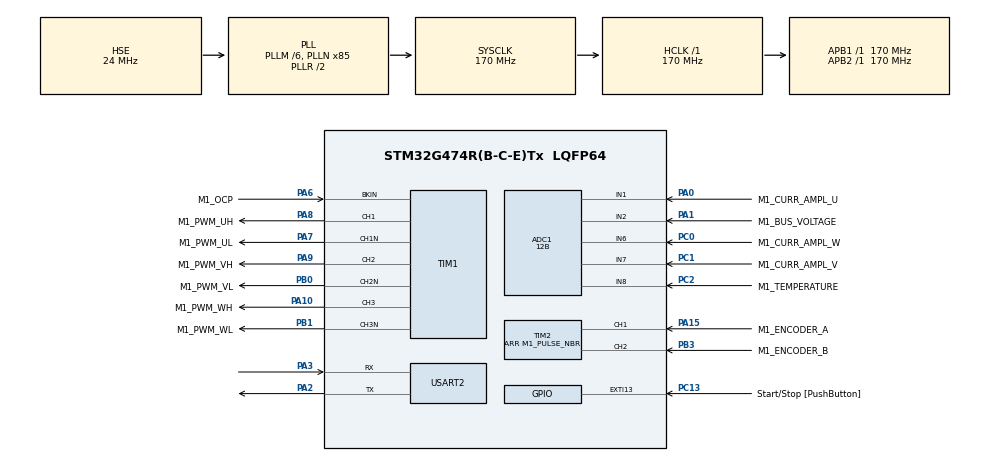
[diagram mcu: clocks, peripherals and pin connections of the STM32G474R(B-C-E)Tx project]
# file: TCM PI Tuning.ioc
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ADC1.Channel-1\#ChannelRegularConversion=ADC_CHANNEL_2
ADC1.Channel-2\#ChannelRegularConversion=ADC_CHANNEL_8
ADC1.ClockPrescaler=ADC_CLOCK_ASYNC_DIV1
ADC1.ContinuousConvMode=DISABLE
ADC1.DMAContinuousRequests=DISABLE
ADC1.DataAlign=ADC_DATAALIGN_LEFT
ADC1.DiscontinuousConvMode=DISABLE
ADC1.EOCSelection=ADC_EOC_SINGLE_CONV
ADC1.EnableAnalogWatchDog1=false
ADC1.EnableAnalogWatchDog2=false
ADC1.EnableAnalogWatchDog3=false
ADC1.EnableInjectedConversion=ENABLE
ADC1.EnableRegularConversion=ENABLE
ADC1.ExternalTrigConv=ADC_SOFTWARE_START
ADC1.ExternalTrigConvEdge=ADC_EXTERNALTRIGCONVEDGE_NONE
ADC1.ExternalTrigInjecConv=ADC_EXTERNALTRIGINJEC_T1_TRGO
ADC1.ExternalTrigInjecConvEdge=ADC_EXTERNALTRIGINJECCONV_EDGE_RISING
ADC1.InjNumberOfConversion=3
ADC1.InjectedChannel-1\#ChannelInjectedConversion=ADC_CHANNEL_1
ADC1.InjectedChannel-2\#ChannelInjectedConversion=ADC_CHANNEL_7
ADC1.InjectedChannel-3\#ChannelInjectedConversion=ADC_CHANNEL_6
ADC1.InjectedConvMode=None
ADC1.InjectedOffset-1\#ChannelInjectedConversion=0
ADC1.InjectedOffset-2\#ChannelInjectedConversion=0
ADC1.InjectedOffset-3\#ChannelInjectedConversion=0
ADC1.InjectedOffsetNumber-1\#ChannelInjectedConversion=ADC_OFFSET_NONE
ADC1.InjectedOffsetNumber-2\#ChannelInjectedConversion=ADC_OFFSET_NONE
ADC1.InjectedOffsetNumber-3\#ChannelInjectedConversion=ADC_OFFSET_NONE
ADC1.InjectedRank-1\#ChannelInjectedConversion=1
ADC1.InjectedRank-2\#ChannelInjectedConversion=2
ADC1.InjectedRank-3\#ChannelInjectedConversion=3
ADC1.InjectedSamplingTime-1\#ChannelInjectedConversion=ADC_SAMPLETIME_6CYCLES_5
ADC1.InjectedSamplingTime-2\#ChannelInjectedConversion=ADC_SAMPLETIME_6CYCLES_5
ADC1.InjectedSamplingTime-3\#ChannelInjectedConversion=ADC_SAMPLETIME_6CYCLES_5
ADC1.LowPowerAutoWait=DISABLE
ADC1.NbrOfConversion=2
ADC1.NbrOfConversionFlag=1
ADC1.Offset-1\#ChannelRegularConversion=0
ADC1.Offset-2\#ChannelRegularConversion=0
ADC1.OffsetNumber-1\#ChannelRegularConversion=ADC_OFFSET_NONE
ADC1.OffsetNumber-2\#ChannelRegularConversion=ADC_OFFSET_NONE
ADC1.Overrun=ADC_OVR_DATA_PRESERVED
ADC1.Rank-1\#ChannelRegularConversion=1
ADC1.Rank-2\#ChannelRegularConversion=2
ADC1.Resolution=ADC_RESOLUTION_12B
ADC1.SamplingTime-1\#ChannelRegularConversion=ADC_SAMPLETIME_47CYCLES_5
ADC1.SamplingTime-2\#ChannelRegularConversion=ADC_SAMPLETIME_47CYCLES_5
ADC1.ScanConvMode=ADC_SCAN_ENABLE
ADC1.master=1
ExtraMW=MotorControl
ExtraMW.MotorControl.Config=MotorControl
ExtraMW.MotorControl.Mode=MotorControl
ExtraMW.MotorControl.Root=MCSDK_v6.3.0-Full/MotorControl
ExtraMW.MotorControl.Template=templates
Mcu.Family=STM32G4
Mcu.Name=STM32G474R(B-C-E)Tx
Mcu.Package=LQFP64
MotorControl.ADC_AHBPERIPH=RCC_AHBPeriph_ADC1
MotorControl.ADC_CLOCK_WB_DIV=1
MotorControl.ADC_PERIPH=ADC1
MotorControl.ADC_REFERENCE_VOLTAGE=3.3
MotorControl.BOARD=NUCLEO-G474RE
MotorControl.BUS_VOLTAGE_READING=true
MotorControl.CCMRAM_ENABLED=false
MotorControl.CLOCK_FREQUENCY=CPU_CLK_170_MHZ
MotorControl.CLOCK_SOURCE=EXTERNAL
MotorControl.CPU_CLK_170_MHZ=true
MotorControl.CTLBOARD_NAME=NUCLEO-G474RE
MotorControl.CUBE_MX_VER=6.12.0
MotorControl.CURRENT_READING_TOPOLOGY=THREE_SHUNT
MotorControl.CURR_SAMPLING_TIME=6
MotorControl.DBG_MCU_LOAD_MEASURE=false
MotorControl.DEBUG_DAC_FUNCTIONALITY_EN=false
MotorControl.DRIVES_NUMBER_SELECTION=SINGLEDRIVE
MotorControl.DRIVE_NUMBER=1
MotorControl.DRIVE_TYPE=FOC
MotorControl.EMERGENCY_STOP_GPIO_PIN=LL_GPIO_PIN_6
MotorControl.EMERGENCY_STOP_GPIO_PORT=GPIOA
MotorControl.ENCODER=true
MotorControl.ENCODER_AVAILABLE=true
MotorControl.ENCODER_PPR=5000
MotorControl.ENC_A_GPIO_PIN=LL_GPIO_PIN_15
MotorControl.ENC_A_GPIO_PORT=GPIOA
MotorControl.ENC_B_GPIO_PIN=LL_GPIO_PIN_3
MotorControl.ENC_B_GPIO_PORT=GPIOB
MotorControl.ENC_ICx_FILTER=119
MotorControl.ENC_INVERT_SPEED=false
MotorControl.ENC_TIMER_SELECTION=ENC_TIM2
MotorControl.ENC_USE_CH3=false
MotorControl.EXT_CLK_24_MHZ=true
MotorControl.EXT_CLOCK_FREQUENCY=EXT_CLK_24_MHZ
MotorControl.FEEDBACK_NET_FILTERING=false
MotorControl.HALL_SENSORS_AVAILABLE=false
MotorControl.HIGH_SIDE_IDLE_STATE=false
MotorControl.HWV_CS=ThreeShunt_AmplifiedCurrents
MotorControl.HWV_OCP=OnPowerStageOCP
MotorControl.HWV_PWM=DrivingHighAndLowSides
MotorControl.HW_COMPLEMENTED_LOW_SIDE=false
MotorControl.HW_DEAD_TIME_NS=1000
MotorControl.IPs=CORDIC,SYS,NVIC,RCC,MotorControl,TIM1,ADC1,TIM2
MotorControl.LOW_MEMORY_FOOTPRINT_REG=false
MotorControl.LOW_SIDE_IDLE_STATE=false
MotorControl.LOW_SIDE_SIGNALS_ENABLING=LS_PWM_TIMER
MotorControl.M1_ALIGNMENT_ANGLE_DEG=90
MotorControl.M1_ALIGNMENT_DURATION=700
MotorControl.M1_AMPLIFICATION_GAIN=5.18
MotorControl.M1_ANGC={0,0,0,0,0,0,0,0}
MotorControl.M1_AUXILIARY_SPEED_SENSOR=NONE
MotorControl.M1_BOARD_MAX_CURRENT=5
MotorControl.M1_BUS_VOLTAGE_READING=true
MotorControl.M1_COMMUTATION_STEP_TIME_BUF_SIZE=12
MotorControl.M1_CONSTANT1_D=499039
MotorControl.M1_CONSTANT1_Q=408714
MotorControl.M1_CONSTANT2_QD=92859
MotorControl.M1_CS_ADC_NUM=1
MotorControl.M1_CS_ADC_PHASE_SHARED=NONE
MotorControl.M1_CS_ADC_U=ADC1
MotorControl.M1_CS_ADC_V=ADC1
MotorControl.M1_CS_ADC_W=ADC1
MotorControl.M1_CS_CHANNEL_U=1
MotorControl.M1_CS_CHANNEL_V=7
MotorControl.M1_CS_CHANNEL_W=6
MotorControl.M1_CURRENT_AMPLIFICATION_TOPO=EXTERNAL
MotorControl.M1_CURRENT_SENSING_TOPO=THREE_SHUNT
MotorControl.M1_CURR_SAMPLING_TIME=6
MotorControl.M1_DBG_OPEN_LOOP_ENABLE=false
MotorControl.M1_DC_CURRENT_RS_MEAS=5
MotorControl.M1_DEFAULT_CONTROL_MODE=STC_SPEED_MODE
MotorControl.M1_DEFAULT_FLUX_COMPONENT=0
MotorControl.M1_DEFAULT_TARGET_SPEED_RPM=0
MotorControl.M1_DEFAULT_TORQUE_COMPONENT=0
MotorControl.M1_DISCONTINUOUS_PWM=false
MotorControl.M1_DP_TOPOLOGY=NONE
MotorControl.M1_DRIVE_TYPE=FOC
MotorControl.M1_ENCODER_PPR=5000
MotorControl.M1_ENC_AVERAGING_FIFO_DEPTH=16
MotorControl.M1_ENC_A_GPIO_PIN=LL_GPIO_PIN_15
MotorControl.M1_ENC_A_GPIO_PORT=GPIOA
MotorControl.M1_ENC_B_GPIO_PIN=LL_GPIO_PIN_3
MotorControl.M1_ENC_B_GPIO_PORT=GPIOB
MotorControl.M1_ENC_ICx_FILTER=119
MotorControl.M1_ENC_TIMER_SELECTION=ENC_TIM2
MotorControl.M1_ENC_USE_CH3=false
MotorControl.M1_FEED_FORWARD_CURRENT_REG_ENABLING=false
MotorControl.M1_FINAL_I_ALIGNMENT=5
MotorControl.M1_FLUX_WEAKENING_ENABLING=false
MotorControl.M1_FW_KIDIV=32768
MotorControl.M1_FW_KI_GAIN=5000
MotorControl.M1_FW_KPDIV=32768
MotorControl.M1_FW_KP_GAIN=3000
MotorControl.M1_FW_VOLTAGE_REF=985
MotorControl.M1_HALL_PHASE_SHIFT=300
MotorControl.M1_HALL_SENSORS_PLACEMENT=DEGREES_120
MotorControl.M1_HIGH_SIDE_IDLE_STATE=false
MotorControl.M1_HW_DEAD_TIME_NS=1000
MotorControl.M1_ICL_ENABLED=false
MotorControl.M1_ID_DEMAG=-5
MotorControl.M1_IQMAX=5
MotorControl.M1_LDLQ_RATIO=1.221
MotorControl.M1_LOW_SIDE_IDLE_STATE=false
MotorControl.M1_LOW_SIDE_SIGNALS_ENABLING=LS_PWM_TIMER
MotorControl.M1_LS=0.000789
MotorControl.M1_MAX_APPLICATION_SPEED=1200
MotorControl.M1_MAX_MODULATION_INDEX=94
MotorControl.M1_MIN_APPLICATION_SPEED=0
MotorControl.M1_MOTOR_MAX_SPEED_RPM=1200
MotorControl.M1_MOTOR_NAME=GEMS
MotorControl.M1_MOTOR_RATED_FLUX=0.286835249
MotorControl.M1_MOTOR_VOLTAGE_CONSTANT=11.7
MotorControl.M1_MTPA_ENABLING=false
MotorControl.M1_NOMINAL_BUS_VOLTAGE_V=24
MotorControl.M1_NOMINAL_CURRENT=5
MotorControl.M1_OCP_BKIN_FILTER=3
MotorControl.M1_OCP_BKIN_MODE=EXT_MODE
MotorControl.M1_OCP_BKIN_POLARITY=EMSTOP_ACTIVE_LOW
MotorControl.M1_OCP_DESTINATION=TIM_BKIN
MotorControl.M1_OCP_TOPOLOGY=EXTERNAL
MotorControl.M1_OFST={0,0,0,0,0,0,0,0}
MotorControl.M1_ON_OVER_VOLTAGE=TURN_OFF_PWM
MotorControl.M1_OVERMODULATION=false
MotorControl.M1_OVP_THRESHOLD_HIGH=29
MotorControl.M1_OV_TEMPERATURE_HYSTERESIS_C=10
MotorControl.M1_OV_TEMPERATURE_PROT_ENABLING=true
MotorControl.M1_OV_TEMPERATURE_THRESHOLD_C=110
MotorControl.M1_OV_VOLTAGE_PROT_ENABLING=true
MotorControl.M1_OV_VOLTAGE_THRESHOLD_V=29
MotorControl.M1_PID_FLUX_KD_DEFAULT=100
MotorControl.M1_PID_FLUX_KI_DEFAULT=3100
MotorControl.M1_PID_FLUX_KP_DEFAULT=1300
MotorControl.M1_PID_SPEED_KD_DEFAULT=0
MotorControl.M1_PID_SPEED_KI_DEFAULT=1110
MotorControl.M1_PID_SPEED_KP_DEFAULT=8456
MotorControl.M1_PID_TORQUE_KD_DEFAULT=100
MotorControl.M1_PID_TORQUE_KI_DEFAULT=3100
MotorControl.M1_PID_TORQUE_KP_DEFAULT=1300
MotorControl.M1_POLE_PAIR_NUM=2
MotorControl.M1_POSITION_CTRL_ENABLING=true
MotorControl.M1_POSITION_CTRL_KDDIV=16
MotorControl.M1_POSITION_CTRL_KD_GAIN=1000
MotorControl.M1_POSITION_CTRL_KIDIV=32768
MotorControl.M1_POSITION_CTRL_KI_GAIN=1000
MotorControl.M1_POSITION_CTRL_KPDIV=1024
MotorControl.M1_POSITION_CTRL_KP_GAIN=10000
MotorControl.M1_POSITION_LOOP_FREQUENCY_HZ=2000
MotorControl.M1_POTENTIOMETER_ENABLE=false
MotorControl.M1_POWERBOARD_NAME=X-NUCLEO-IHM08M1
MotorControl.M1_PWM_CHARGE_BOOT_CAP_DUTY_CYCLES=0.000
MotorControl.M1_PWM_CHARGE_BOOT_CAP_MS=10
MotorControl.M1_PWM_DRIVER_PN=L6398
MotorControl.M1_PWM_FREQUENCY=30000
MotorControl.M1_PWM_TIMER_BRK_IRQ=TIM1_BRK_TIM15
MotorControl.M1_PWM_TIMER_SELECTION=PWM_TIM1
MotorControl.M1_PWM_TIMER_UP_IRQ=TIM1_UP_TIM16
MotorControl.M1_REGULATION_EXECUTION_RATE=3
MotorControl.M1_RS=0.77
MotorControl.M1_RSHUNT=0.01
MotorControl.M1_SEGDIV=0
MotorControl.M1_SHARED_SIGNAL_ENABLE=false
MotorControl.M1_SPD_DIFFERENTIAL_TERM_ENABLING=false
MotorControl.M1_SPEED_SENSOR=QUAD_ENCODER
MotorControl.M1_SP_KDDIV=16
MotorControl.M1_SP_KIDIV=256
MotorControl.M1_SP_KPDIV=256
MotorControl.M1_SS_MEAS_ERRORS_BEFORE_FAULTS=3
MotorControl.M1_SW_DEADTIME_NS=850
MotorControl.M1_T0_C=25
MotorControl.M1_TEMPERATURE_READING=true
MotorControl.M1_TEMP_ADC_SAMPLING_TIME=47
MotorControl.M1_TEMP_FDBK_ADC=ADC1
MotorControl.M1_TEMP_FDBK_CHANNEL=ADC_CHANNEL_8
MotorControl.M1_TF_KDDIV=8192
MotorControl.M1_TF_KIDIV=8192
MotorControl.M1_TF_KPDIV=128
MotorControl.M1_TNOISE_NS=1000
MotorControl.M1_TRISE_NS=1000
MotorControl.M1_T_MAX=110
MotorControl.M1_UD_VOLTAGE_THRESHOLD_V=10
MotorControl.M1_USE_INTERNAL_OPAMP=false
MotorControl.M1_UV_VOLTAGE_PROT_ENABLING=true
MotorControl.M1_V0_V=1.055
MotorControl.M1_VBUS_ADC=ADC1
MotorControl.M1_VBUS_ADC_SAMPLING_TIME=47
MotorControl.M1_VBUS_CHANNEL=ADC_CHANNEL_2
MotorControl.M1_VBUS_PARTITIONING_FACTOR=0.052164840897235255
MotorControl.M1_dV_dT=0.023
MotorControl.MAX_READABLE_CURRENT=31.845
MotorControl.MCP_EN=false
MotorControl.MCU=STM32G474RE
MotorControl.MCU_FAMILY=STM32G4
MotorControl.MCU_LINE=STM32G4x4
MotorControl.MCU_NAME=STM32G474R(B-C-E)Tx
MotorControl.MCU_PACKAGE=LQFP64
MotorControl.MCU_TYPE=STM32G474RE
MotorControl.MCU_USERNAME=STM32G474RETx
MotorControl.MC_WORKBENCH_VERSION=6.3.0
MotorControl.MOTOR_PROFILER=false
MotorControl.MOTOR_TYPE=PMSM
MotorControl.ON_OVER_VOLTAGE=TURN_OFF_PWM
MotorControl.OV_TEMPERATURE_PROT_ENABLING=true
MotorControl.OV_VOLTAGE_PROT_ENABLING=true
MotorControl.PHASE_UH_GPIO_PIN=LL_GPIO_PIN_8
MotorControl.PHASE_UH_GPIO_PORT=GPIOA
MotorControl.PHASE_UH_POLARITY=H_ACTIVE_HIGH
MotorControl.PHASE_UL_GPIO_PIN=LL_GPIO_PIN_7
MotorControl.PHASE_UL_GPIO_PORT=GPIOA
MotorControl.PHASE_UL_POLARITY=L_ACTIVE_LOW
MotorControl.PHASE_U_CURR_ADC=ADC1
MotorControl.PHASE_U_CURR_CHANNEL=ADC_CHANNEL_1
MotorControl.PHASE_U_GPIO_PIN=LL_GPIO_PIN_0
MotorControl.PHASE_U_GPIO_PORT=GPIOA
MotorControl.PHASE_VH_GPIO_PIN=LL_GPIO_PIN_9
MotorControl.PHASE_VH_GPIO_PORT=GPIOA
MotorControl.PHASE_VH_POLARITY=H_ACTIVE_HIGH
MotorControl.PHASE_VL_GPIO_PIN=LL_GPIO_PIN_0
MotorControl.PHASE_VL_GPIO_PORT=GPIOB
MotorControl.PHASE_VL_POLARITY=L_ACTIVE_LOW
MotorControl.PHASE_V_CURR_ADC=ADC1
MotorControl.PHASE_V_CURR_CHANNEL=ADC_CHANNEL_7
MotorControl.PHASE_V_GPIO_PIN=LL_GPIO_PIN_1
MotorControl.PHASE_V_GPIO_PORT=GPIOC
MotorControl.PHASE_WH_GPIO_PIN=LL_GPIO_PIN_10
MotorControl.PHASE_WH_GPIO_PORT=GPIOA
MotorControl.PHASE_WH_POLARITY=H_ACTIVE_HIGH
MotorControl.PHASE_WL_GPIO_PIN=LL_GPIO_PIN_1
MotorControl.PHASE_WL_GPIO_PORT=GPIOB
MotorControl.PHASE_WL_POLARITY=L_ACTIVE_LOW
MotorControl.PHASE_W_CURR_ADC=ADC1
MotorControl.PHASE_W_CURR_CHANNEL=ADC_CHANNEL_6
MotorControl.PHASE_W_GPIO_PIN=LL_GPIO_PIN_0
MotorControl.PHASE_W_GPIO_PORT=GPIOC
MotorControl.POTENTIOMETER_READING=false
MotorControl.PWM_FREQUENCY=30000
MotorControl.PWM_TIMER_SELECTION=PWM_TIM1
MotorControl.REGULATION_EXECUTION_RATE=3
MotorControl.RTOS=NONE
MotorControl.R_BRAKE_SWITCH_OFF_THRES_V=23
MotorControl.SINGLEDRIVE=true
MotorControl.SPD_DIFFERENTIAL_TERM_ENABLING=false
MotorControl.SPEED_SENSOR_SELECTION=ENCODER
MotorControl.START_STOP_BTN=true
MotorControl.START_STOP_GPIO_PIN=LL_GPIO_PIN_13
MotorControl.START_STOP_GPIO_PORT=GPIOC
MotorControl.START_STOP_POLARITY=DIN_ACTIVE_LOW
MotorControl.START_STOP_POLARITY_EDGE=GPIO_NOPULL
MotorControl.STM32G474RE=true
MotorControl.SW_DEADTIME_NS=850
MotorControl.TEMPERATURE_READING=true
MotorControl.TEMP_ADC_SAMPLING_TIME=47
MotorControl.TEMP_FDBK_ADC=ADC1
MotorControl.TEMP_FDBK_CHANNEL=ADC_CHANNEL_8
MotorControl.TEMP_FDBK_GPIO_PIN=LL_GPIO_PIN_2
MotorControl.TEMP_FDBK_GPIO_PORT=GPIOC
MotorControl.TFDIFFERENTIAL_TERM_ENABLING=false
MotorControl.THREE_SHUNT=true
MotorControl.TRISE_NS=1000
MotorControl.USE_3OPAMPS=false
MotorControl.USE_INTERNAL_OPAMP=false
MotorControl.UV_VOLTAGE_PROT_ENABLING=true
MotorControl.VBUS_ADC=ADC1
MotorControl.VBUS_ADC_SAMPLING_TIME=47
MotorControl.VBUS_CHANNEL=ADC_CHANNEL_2
MotorControl.VBUS_GPIO_PIN=LL_GPIO_PIN_1
MotorControl.VBUS_GPIO_PORT=GPIOA
MotorControl.WB_UI_CUTOFF_FREQUENCY=6000
MotorControl.WB_UI_ENCODER_HAS_INDEX_PIN=true
MotorControl.WB_UI_FLUX_TARGET=0
MotorControl.WB_UI_FRICTION=42.02
MotorControl.WB_UI_INERTIA=0.04
MotorControl.WB_UI_MAGNETIC_STRUCTURE=I-PMSM
MotorControl.WB_UI_MAX_CURRENT=5
MotorControl.WB_UI_MAX_NOMINAL_DC_VOLTAGE=24
MotorControl.WB_UI_MAX_PWMFREQUENCY=100000
MotorControl.WB_UI_MOTOR_DESCRIPTION=Profiled
MotorControl.WB_UI_OCP_DISABLING_ENABLE=false
MotorControl.WB_UI_OCP_THRESHOLD=30
MotorControl.WB_UI_PW_BOARD_MAX_RATED_CURRENT=30
MotorControl.WB_UI_PW_BOARD_MAX_VOLTAGE=48
MotorControl.WB_UI_PW_BOARD_MIN_VOLTAGE=10
MotorControl.WB_UI_VPOL=1.71
MotorControl.WB_to_Mx_template_version=24-04-17
MotorControl.WB_to_Mx_version=6.2.3
NVIC.ADC1_2_IRQn=true\:2\:0\:true\:true\:false\:3\:true\:true\:true
NVIC.EXTI15_10_IRQn=true\:3\:0\:false\:true\:false\:5\:true\:true\:true
NVIC.PriorityGroup=NVIC_PRIORITYGROUP_3
NVIC.TIM1_BRK_TIM15_IRQn=true\:4\:1\:true\:true\:false\:1\:true\:true\:true
NVIC.TIM1_UP_TIM16_IRQn=true\:0\:0\:false\:true\:false\:2\:true\:true\:true
NVIC.TIM2_IRQn=true\:3\:0\:false\:true\:false\:4\:true\:true\:true
PA0.GPIO_Label=M1_CURR_AMPL_U
PA0.Mode=IN1-Single-Ended
PA0.Signal=ADC1_IN1
PA1.GPIO_Label=M1_BUS_VOLTAGE
PA1.Mode=IN2-Single-Ended
PA1.Signal=ADC1_IN2
PA10.GPIO_Label=M1_PWM_WH
PA10.GPIO_PuPd=GPIO_PULLDOWN
PA10.GPIO_Speed=GPIO_SPEED_FREQ_HIGH
PA10.Signal=S_TIM1_CH3
PA13.GPIO_Label=TMS
PA13.Mode=Serial_Wire
PA13.Signal=SYS_JTMS-SWDIO
PA14.GPIO_Label=TCK
PA14.Mode=Serial_Wire
PA14.Signal=SYS_JTCK-SWCLK
PA15.GPIO_Label=M1_ENCODER_A
PA15.Signal=S_TIM2_CH1
PA2.Mode=Asynchronous
PA2.Signal=USART2_TX
PA3.Mode=Asynchronous
PA3.Signal=USART2_RX
PA6.GPIO_Label=M1_OCP
PA6.GPIO_PuPd=GPIO_PULLUP
PA6.Mode=Activate-Break-Input
PA6.Signal=TIM1_BKIN
PA7.GPIO_Label=M1_PWM_UL
PA7.GPIO_PuPd=GPIO_PULLUP
PA7.GPIO_Speed=GPIO_SPEED_FREQ_HIGH
PA7.Mode=PWM Generation1 CH1 CH1N
PA7.Signal=TIM1_CH1N
PA8.GPIO_Label=M1_PWM_UH
PA8.GPIO_PuPd=GPIO_PULLDOWN
PA8.GPIO_Speed=GPIO_SPEED_FREQ_HIGH
PA8.Signal=S_TIM1_CH1
PA9.GPIO_Label=M1_PWM_VH
PA9.GPIO_PuPd=GPIO_PULLDOWN
PA9.GPIO_Speed=GPIO_SPEED_FREQ_HIGH
PA9.Signal=S_TIM1_CH2
PB0.GPIO_Label=M1_PWM_VL
PB0.GPIO_PuPd=GPIO_PULLUP
PB0.GPIO_Speed=GPIO_SPEED_FREQ_HIGH
PB0.Mode=PWM Generation2 CH2 CH2N
PB0.Signal=TIM1_CH2N
PB1.GPIO_Label=M1_PWM_WL
PB1.GPIO_PuPd=GPIO_PULLUP
PB1.GPIO_Speed=GPIO_SPEED_FREQ_HIGH
PB1.Mode=PWM Generation3 CH3 CH3N
PB1.Signal=TIM1_CH3N
PB3.GPIO_Label=M1_ENCODER_B
PB3.Signal=S_TIM2_CH2
PC0.GPIO_Label=M1_CURR_AMPL_W
PC0.Mode=IN6-Single-Ended
PC0.Signal=ADC1_IN6
PC1.GPIO_Label=M1_CURR_AMPL_V
PC1.Mode=IN7-Single-Ended
PC1.Signal=ADC1_IN7
PC13.GPIO_Label=Start/Stop [PushButton]
PC13.GPIO_ModeDefaultEXTI=GPIO_MODE_IT_FALLING
PC13.GPIO_PuPd=GPIO_NOPULL
PC13.Signal=GPXTI13
PC2.GPIO_Label=M1_TEMPERATURE
PC2.Mode=IN8-Single-Ended
PC2.Signal=ADC1_IN8
PF0-OSC_IN.Mode=HSE-External-Oscillator
PF0-OSC_IN.Signal=RCC_OSC_IN
PF1-OSC_OUT.Mode=HSE-External-Oscillator
PF1-OSC_OUT.Signal=RCC_OSC_OUT
ProjectManager.HeapSize=0x200
ProjectManager.StackSize=0x400
ProjectManager.TargetToolchain=STM32CubeIDE
RCC.ADC12CLockSelection=RCC_ADC12CLKSOURCE_PLL
RCC.ADC12Freq_Value=42500000
RCC.ADC345CLockSelection=RCC_ADC345CLKSOURCE_PLL
RCC.ADC345Freq_Value=42500000
RCC.AHBFreq_Value=170000000
RCC.APB1Freq_Value=170000000
RCC.APB1TimFreq_Value=170000000
RCC.APB2Freq_Value=170000000
RCC.APB2TimFreq_Value=170000000
RCC.CK48CLockSelection=RCC_USBCLKSOURCE_PLL
RCC.CortexFreq_Value=170000000
RCC.EXTERNAL_CLOCK_VALUE=12288000
RCC.HCLKFreq_Value=170000000
RCC.HSE_VALUE=24000000
RCC.HSI48_VALUE=48000000
RCC.HSI_VALUE=16000000
RCC.LSE_VALUE=32768
RCC.PLLM=RCC_PLLM_DIV4
RCC.PLLN=85
RCC.PLLP=RCC_PLLP_DIV8
RCC.PREFETCH_ENABLE=1
RCC.SYSCLKFreq_VALUE=170000000
RCC.SYSCLKSource=RCC_SYSCLKSOURCE_PLLCLK
RCC.USBFreq_Value=170000000
RCC.VCOOutputFreq_Value=340000000
SH.S_TIM1_CH1.0=TIM1_CH1,PWM Generation1 CH1 CH1N
SH.S_TIM1_CH2.0=TIM1_CH2,PWM Generation2 CH2 CH2N
SH.S_TIM1_CH3.0=TIM1_CH3,PWM Generation3 CH3 CH3N
SH.S_TIM2_CH1.0=TIM2_CH1,Encoder_Interface
SH.S_TIM2_CH2.0=TIM2_CH2,Encoder_Interface
TIM1.AutoReloadPreload=TIM_AUTORELOAD_PRELOAD_DISABLE
TIM1.AutomaticOutput=TIM_AUTOMATICOUTPUT_DISABLE
TIM1.Break2Filter=3
TIM1.Break2Polarity=TIM_BREAK2POLARITY_HIGH
TIM1.Break2State=TIM_BREAK2_DISABLE
TIM1.BreakFilter=3
TIM1.BreakPolarity=TIM_BREAKPOLARITY_HIGH
TIM1.BreakState=TIM_BREAK_ENABLE
TIM1.Channel=TIM_CHANNEL_4
TIM1.Channel-PWM\ Generation1\ CH1\ CH1N=TIM_CHANNEL_1
TIM1.Channel-PWM\ Generation2\ CH2\ CH2N=TIM_CHANNEL_2
TIM1.Channel-PWM\ Generation3\ CH3\ CH3N=TIM_CHANNEL_3
TIM1.Channel-PWM\ Generation4\ No\ Output=TIM_CHANNEL_4
TIM1.ClearInputSource=TIM_CLEARINPUTSOURCE_NONE
TIM1.ClockDivision=TIM_CLOCKDIVISION_DIV2
TIM1.CounterMode=TIM_COUNTERMODE_CENTERALIGNED1
TIM1.DeadTime=((DEAD_TIME_COUNTS) / 2)
TIM1.LockLevel=TIM_LOCKLEVEL_OFF
TIM1.OC1Preload_PWM=ENABLE
TIM1.OC2Preload_PWM=ENABLE
TIM1.OC3Preload_PWM=ENABLE
TIM1.OC4Preload_PWM=ENABLE
TIM1.OCFastMode_PWM=TIM_OCFAST_DISABLE
TIM1.OCIdleState_1=TIM_OCIDLESTATE_RESET
TIM1.OCIdleState_2=TIM_OCIDLESTATE_RESET
TIM1.OCIdleState_3=TIM_OCIDLESTATE_RESET
TIM1.OCIdleState_4=TIM_OCIDLESTATE_RESET
TIM1.OCMode_PWM-PWM\ Generation1\ CH1\ CH1N=TIM_OCMODE_PWM1
TIM1.OCMode_PWM-PWM\ Generation2\ CH2\ CH2N=TIM_OCMODE_PWM1
TIM1.OCMode_PWM-PWM\ Generation3\ CH3\ CH3N=TIM_OCMODE_PWM1
TIM1.OCMode_PWM-PWM\ Generation4\ No\ Output=TIM_OCMODE_PWM2
TIM1.OCNIdleState_1=TIM_OCNIDLESTATE_SET
TIM1.OCNIdleState_2=TIM_OCNIDLESTATE_SET
TIM1.OCNIdleState_3=TIM_OCNIDLESTATE_SET
TIM1.OCNPolarity_1=TIM_OCNPOLARITY_LOW
TIM1.OCNPolarity_2=TIM_OCNPOLARITY_LOW
TIM1.OCNPolarity_3=TIM_OCNPOLARITY_LOW
TIM1.OCPolarity_1=TIM_OCPOLARITY_HIGH
TIM1.OCPolarity_2=TIM_OCPOLARITY_HIGH
TIM1.OCPolarity_3=TIM_OCPOLARITY_HIGH
TIM1.OCPolarity_4=TIM_OCPOLARITY_HIGH
TIM1.OffStateIDLEMode=TIM_OSSI_ENABLE
TIM1.OffStateRunMode=TIM_OSSR_ENABLE
TIM1.PeriodNoDither=((PWM_PERIOD_CYCLES) / 2)
TIM1.Prescaler=((TIM_CLOCK_DIVIDER) - 1)
TIM1.PulseNoDither_1=((PWM_PERIOD_CYCLES) / 4)
TIM1.PulseNoDither_2=((PWM_PERIOD_CYCLES) / 4)
TIM1.PulseNoDither_3=((PWM_PERIOD_CYCLES) / 4)
TIM1.PulseNoDither_4=(((PWM_PERIOD_CYCLES) / 2) - (HTMIN))
TIM1.RepetitionCounter=(REP_COUNTER)
TIM1.SourceBRK2DigInput=TIM_BREAKINPUTSOURCE_DISABLE
TIM1.SourceBRKDigInput=TIM_BREAKINPUTSOURCE_ENABLE
TIM1.SourceBRKDigInputPolarity=TIM_BREAKINPUTSOURCE_POLARITY_LOW
TIM1.TIM_MasterOutputTrigger=TIM_TRGO_OC4REF
TIM1.TIM_MasterOutputTrigger2=TIM_TRGO2_RESET
TIM1.TIM_MasterSlaveMode=TIM_MASTERSLAVEMODE_DISABLE
TIM1.TIM_SlaveMode=TIM_SLAVEMODE_TRIGGER
TIM2.EncoderMode=TIM_ENCODERMODE_TI12
TIM2.IC1Filter=M1_ENC_IC_FILTER
TIM2.IC1Polarity=TIM_ICPOLARITY_RISING
TIM2.IC2Filter=M1_ENC_IC_FILTER
TIM2.IC2Polarity=TIM_ICPOLARITY_RISING
TIM2.PeriodNoDither=M1_PULSE_NBR
USART2.VirtualMode-Asynchronous=VM_ASYNC
VP_CORDIC_VS_CORDIC.Mode=CORDIC_Activate
VP_MotorControl_MC_ENABLED.Mode=Enabled
VP_SYS_VS_DBSignals.Mode=DisableDeadBatterySignals
VP_TIM1_VS_no_output4.Mode=PWM Generation4 No Output
board=custom

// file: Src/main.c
/* USER CODE BEGIN Header */
/**
  ******************************************************************************
  * @file           : main.c
  * @brief          : Main program body
  ******************************************************************************
  * @attention
  *
  * Copyright (c) 2024 STMicroelectronics.
  * All rights reserved.
  *
  * This software is licensed under terms that can be found in the LICENSE file
  * in the root directory of this software component.
  * If no LICENSE file comes with this software, it is provided AS-IS.
  *
  ******************************************************************************
  */
/* USER CODE END Header */
#include "main.h"

/* USER CODE BEGIN Includes */
#include "MotorCmds.h"
#include "math.h"
#include "stdlib.h"
#include "string.h"
/* USER CODE END Includes */

/* USER CODE BEGIN PD */
#define UART_TICK_TIMEOUT 100
/* USER CODE END PD */

ADC_HandleTypeDef hadc1;

CORDIC_HandleTypeDef hcordic;

TIM_HandleTypeDef htim1;
TIM_HandleTypeDef htim2;

UART_HandleTypeDef huart_MD;

void SystemClock_Config(void);
static void MX_GPIO_Init(void);
static void MX_ADC1_Init(void);
static void MX_CORDIC_Init(void);
static void MX_TIM1_Init(void);
static void MX_TIM2_Init(void);
static void MX_USART2_UART_Init(void);
static void MX_NVIC_Init(void);

/* USER CODE BEGIN 0 */
void ftoa(float n, char* res, int afterpoint)
{
	char fpart_char[5] = {0};

	int ipart = (int)n;
    float fpart = abs(n - (float)ipart);
    fpart = fpart * pow(10, afterpoint);

    itoa(ipart, res, 10);
    itoa(fpart, fpart_char, 10);

    strcat(fpart_char, "\r\n");
    strcat(res, ".");
    strcat(res, fpart_char);
}
/* USER CODE END 0 */

int main(void)
{

  /* MCU Configuration--------------------------------------------------------*/

  /* Reset of all peripherals, Initializes the Flash interface and the Systick. */
  HAL_Init();

  /* Configure the system clock */
  SystemClock_Config();

  /* Initialize all configured peripherals */
  MX_GPIO_Init();
  MX_ADC1_Init();
  MX_CORDIC_Init();
  MX_TIM1_Init();
  MX_TIM2_Init();
  MX_MotorControl_Init();
  MX_USART2_UART_Init();

  /* Initialize interrupts */
  MX_NVIC_Init();
  /* USER CODE BEGIN 2 */

  	uint8_t CmdBuf[256] = {0};
    uint8_t RspBuf[256] = {0};
    uint32_t RspLen = 0;

    GPIO_PinState userButton;
    float prevDist = 0;

    unsigned long prev_time = 0;
    unsigned long pres_time = 0;
    float jogTime = 0;
    float jogDist = 0;
    float mm_min_send = 0.0;

    char mm_min_sendChar[15] = {0};

    StdReturn_t stdRet;
    HAL_UART_Transmit(&huart_MD, (uint8_t *)"Welcome to TCM Motor Drive", 28, UART_TICK_TIMEOUT);

  /* USER CODE END 2 */

  /* Infinite loop */
  /* USER CODE BEGIN WHILE */
  while (1)
  {
	  HAL_UART_Receive(&huart_MD, CmdBuf, 256, 100);

	  if(CmdBuf[0] != 0)
	  {
		  stdRet = Cmd_Process(CmdBuf, RspBuf, &RspLen);
		  CmdBuf[0] = 0;

		  if(RET_OK != stdRet)
			  Send_ErrorMsg(stdRet);		// Change to Send_ErrorCode(stdRet) afterwords.
	  }

	  userButton = HAL_GPIO_ReadPin(GPIOC, GPIO_PIN_13);
	  if(userButton == GPIO_PIN_SET)
	  {
		  prevDist = Motor_GetDistance();
		  Motor_SetDistance(500);
		  Motor_Run(false);

		  prev_time = HAL_GetTick();

		  while(1)
		  {
			  userButton = HAL_GPIO_ReadPin(GPIOC, GPIO_PIN_13);
			  if(userButton == GPIO_PIN_RESET)
			  {
				  pres_time = HAL_GetTick();
				  jogTime = (pres_time - prev_time) / (1000.0 * 60.0);		// Minutes		// Should be done by calculating the mechanical angle later
				  jogDist = Motor_GetSpeed() * jogTime * ((Motor_GetDirection()) ? 1 : -1);
				  Motor_SetZeroPos(Motor_GetZeroPos() - jogDist);

				  HAL_Delay(500);
				  Motor_Stop(false);
				  Motor_ResetDriveParams();//MX_MotorControl_Init();
				  break;
			  }
		  }

		  Motor_SetDistance(prevDist);
		  HAL_Delay(500);
		  Motor_Start();
	  }

	  if((HAL_GetTick() - Motor_GetRunTick() > UART_TICK_TIMEOUT) && (pMCI[M1]->pPosCtrl->PositionCtrlStatus == TC_MOVEMENT_ON_GOING))
	  {
		  Motor_SetRunTick(HAL_GetTick());
		  mm_min_send = (((float)(SpeednTorqCtrlM1.SPD->hAvrMecSpeedUnit))/6.0)*5.08;
		  ftoa(mm_min_send, mm_min_sendChar, 2);
		  HAL_UART_Transmit(&huart_MD, (uint8_t*)mm_min_sendChar, 10, 50);

	  }

    /* USER CODE END WHILE */

  }
}

void SystemClock_Config(void)
{
  RCC_OscInitTypeDef RCC_OscInitStruct = {0};
  RCC_ClkInitTypeDef RCC_ClkInitStruct = {0};

  /** Configure the main internal regulator output voltage
  */
  HAL_PWREx_ControlVoltageScaling(PWR_REGULATOR_VOLTAGE_SCALE1_BOOST);

  /** Initializes the RCC Oscillators according to the specified parameters
  * in the RCC_OscInitTypeDef structure.
  */
  RCC_OscInitStruct.OscillatorType = RCC_OSCILLATORTYPE_HSE;
  RCC_OscInitStruct.HSEState = RCC_HSE_ON;
  RCC_OscInitStruct.PLL.PLLState = RCC_PLL_ON;
  RCC_OscInitStruct.PLL.PLLSource = RCC_PLLSOURCE_HSE;
  RCC_OscInitStruct.PLL.PLLM = RCC_PLLM_DIV6;
  RCC_OscInitStruct.PLL.PLLN = 85;
  RCC_OscInitStruct.PLL.PLLP = RCC_PLLP_DIV8;
  RCC_OscInitStruct.PLL.PLLQ = RCC_PLLQ_DIV2;
  RCC_OscInitStruct.PLL.PLLR = RCC_PLLR_DIV2;
  if (HAL_RCC_OscConfig(&RCC_OscInitStruct) != HAL_OK)
  {
    Error_Handler();
  }

  /** Initializes the CPU, AHB and APB buses clocks
  */
  RCC_ClkInitStruct.ClockType = RCC_CLOCKTYPE_HCLK|RCC_CLOCKTYPE_SYSCLK
                              |RCC_CLOCKTYPE_PCLK1|RCC_CLOCKTYPE_PCLK2;
  RCC_ClkInitStruct.SYSCLKSource = RCC_SYSCLKSOURCE_PLLCLK;
  RCC_ClkInitStruct.AHBCLKDivider = RCC_SYSCLK_DIV1;
  RCC_ClkInitStruct.APB1CLKDivider = RCC_HCLK_DIV1;
  RCC_ClkInitStruct.APB2CLKDivider = RCC_HCLK_DIV1;

  if (HAL_RCC_ClockConfig(&RCC_ClkInitStruct, FLASH_LATENCY_4) != HAL_OK)
  {
    Error_Handler();
  }

  /** Enables the Clock Security System
  */
  HAL_RCC_EnableCSS();
}

/**
  * @brief NVIC Configuration.
  * @retval None
  */
static void MX_NVIC_Init(void)
{
  /* TIM1_BRK_TIM15_IRQn interrupt configuration */
  HAL_NVIC_SetPriority(TIM1_BRK_TIM15_IRQn, 4, 1);
  HAL_NVIC_EnableIRQ(TIM1_BRK_TIM15_IRQn);
  /* TIM1_UP_TIM16_IRQn interrupt configuration */
  HAL_NVIC_SetPriority(TIM1_UP_TIM16_IRQn, 0, 0);
  HAL_NVIC_EnableIRQ(TIM1_UP_TIM16_IRQn);
  /* ADC1_2_IRQn interrupt configuration */
  HAL_NVIC_SetPriority(ADC1_2_IRQn, 2, 0);
  HAL_NVIC_EnableIRQ(ADC1_2_IRQn);
  /* TIM2_IRQn interrupt configuration */
  HAL_NVIC_SetPriority(TIM2_IRQn, 3, 0);
  HAL_NVIC_EnableIRQ(TIM2_IRQn);
  /* EXTI15_10_IRQn interrupt configuration */
  HAL_NVIC_SetPriority(EXTI15_10_IRQn, 3, 0);
  HAL_NVIC_EnableIRQ(EXTI15_10_IRQn);
}

static void MX_ADC1_Init(void)
{

  ADC_MultiModeTypeDef multimode = {0};
  ADC_InjectionConfTypeDef sConfigInjected = {0};
  ADC_ChannelConfTypeDef sConfig = {0};

  /** Common config
  */
  hadc1.Instance = ADC1;
  hadc1.Init.ClockPrescaler = ADC_CLOCK_ASYNC_DIV1;
  hadc1.Init.Resolution = ADC_RESOLUTION_12B;
  hadc1.Init.DataAlign = ADC_DATAALIGN_LEFT;
  hadc1.Init.GainCompensation = 0;
  hadc1.Init.ScanConvMode = ADC_SCAN_ENABLE;
  hadc1.Init.EOCSelection = ADC_EOC_SINGLE_CONV;
  hadc1.Init.LowPowerAutoWait = DISABLE;
  hadc1.Init.ContinuousConvMode = DISABLE;
  hadc1.Init.NbrOfConversion = 2;
  hadc1.Init.DiscontinuousConvMode = DISABLE;
  hadc1.Init.ExternalTrigConv = ADC_SOFTWARE_START;
  hadc1.Init.ExternalTrigConvEdge = ADC_EXTERNALTRIGCONVEDGE_NONE;
  hadc1.Init.DMAContinuousRequests = DISABLE;
  hadc1.Init.Overrun = ADC_OVR_DATA_PRESERVED;
  hadc1.Init.OversamplingMode = DISABLE;
  if (HAL_ADC_Init(&hadc1) != HAL_OK)
  {
    Error_Handler();
  }

  /** Configure the ADC multi-mode
  */
  multimode.Mode = ADC_MODE_INDEPENDENT;
  if (HAL_ADCEx_MultiModeConfigChannel(&hadc1, &multimode) != HAL_OK)
  {
    Error_Handler();
  }

  /** Configure Injected Channel
  */
  sConfigInjected.InjectedChannel = ADC_CHANNEL_1;
  sConfigInjected.InjectedRank = ADC_INJECTED_RANK_1;
  sConfigInjected.InjectedSamplingTime = ADC_SAMPLETIME_6CYCLES_5;
  sConfigInjected.InjectedSingleDiff = ADC_SINGLE_ENDED;
  sConfigInjected.InjectedOffsetNumber = ADC_OFFSET_NONE;
  sConfigInjected.InjectedOffset = 0;
  sConfigInjected.InjectedNbrOfConversion = 3;
  sConfigInjected.InjectedDiscontinuousConvMode = DISABLE;
  sConfigInjected.AutoInjectedConv = DISABLE;
  sConfigInjected.QueueInjectedContext = DISABLE;
  sConfigInjected.ExternalTrigInjecConv = ADC_EXTERNALTRIGINJEC_T1_TRGO;
  sConfigInjected.ExternalTrigInjecConvEdge = ADC_EXTERNALTRIGINJECCONV_EDGE_RISING;
  sConfigInjected.InjecOversamplingMode = DISABLE;
  if (HAL_ADCEx_InjectedConfigChannel(&hadc1, &sConfigInjected) != HAL_OK)
  {
    Error_Handler();
  }

  /** Configure Injected Channel
  */
  sConfigInjected.InjectedChannel = ADC_CHANNEL_7;
  sConfigInjected.InjectedRank = ADC_INJECTED_RANK_2;
  if (HAL_ADCEx_InjectedConfigChannel(&hadc1, &sConfigInjected) != HAL_OK)
  {
    Error_Handler();
  }

  /** Configure Injected Channel
  */
  sConfigInjected.InjectedChannel = ADC_CHANNEL_6;
  sConfigInjected.InjectedRank = ADC_INJECTED_RANK_3;
  if (HAL_ADCEx_InjectedConfigChannel(&hadc1, &sConfigInjected) != HAL_OK)
  {
    Error_Handler();
  }

  /** Configure Regular Channel
  */
  sConfig.Channel = ADC_CHANNEL_2;
  sConfig.Rank = ADC_REGULAR_RANK_1;
  sConfig.SamplingTime = ADC_SAMPLETIME_47CYCLES_5;
  sConfig.SingleDiff = ADC_SINGLE_ENDED;
  sConfig.OffsetNumber = ADC_OFFSET_NONE;
  sConfig.Offset = 0;
  if (HAL_ADC_ConfigChannel(&hadc1, &sConfig) != HAL_OK)
  {
    Error_Handler();
  }

  /** Configure Regular Channel
  */
  sConfig.Channel = ADC_CHANNEL_8;
  sConfig.Rank = ADC_REGULAR_RANK_2;
  if (HAL_ADC_ConfigChannel(&hadc1, &sConfig) != HAL_OK)
  {
    Error_Handler();
  }

}

static void MX_CORDIC_Init(void)
{

  hcordic.Instance = CORDIC;
  if (HAL_CORDIC_Init(&hcordic) != HAL_OK)
  {
    Error_Handler();
  }

}

static void MX_TIM1_Init(void)
{

  TIM_MasterConfigTypeDef sMasterConfig = {0};
  TIMEx_BreakInputConfigTypeDef sBreakInputConfig = {0};
  TIM_OC_InitTypeDef sConfigOC = {0};
  TIM_BreakDeadTimeConfigTypeDef sBreakDeadTimeConfig = {0};

  htim1.Instance = TIM1;
  htim1.Init.Prescaler = ((TIM_CLOCK_DIVIDER) - 1);
  htim1.Init.CounterMode = TIM_COUNTERMODE_CENTERALIGNED1;
  htim1.Init.Period = ((PWM_PERIOD_CYCLES) / 2);
  htim1.Init.ClockDivision = TIM_CLOCKDIVISION_DIV2;
  htim1.Init.RepetitionCounter = (REP_COUNTER);
  htim1.Init.AutoReloadPreload = TIM_AUTORELOAD_PRELOAD_DISABLE;
  if (HAL_TIM_PWM_Init(&htim1) != HAL_OK)
  {
    Error_Handler();
  }
  sMasterConfig.MasterOutputTrigger = TIM_TRGO_OC4REF;
  sMasterConfig.MasterOutputTrigger2 = TIM_TRGO2_RESET;
  sMasterConfig.MasterSlaveMode = TIM_MASTERSLAVEMODE_DISABLE;
  if (HAL_TIMEx_MasterConfigSynchronization(&htim1, &sMasterConfig) != HAL_OK)
  {
    Error_Handler();
  }
  sBreakInputConfig.Source = TIM_BREAKINPUTSOURCE_BKIN;
  sBreakInputConfig.Enable = TIM_BREAKINPUTSOURCE_ENABLE;
  sBreakInputConfig.Polarity = TIM_BREAKINPUTSOURCE_POLARITY_LOW;
  if (HAL_TIMEx_ConfigBreakInput(&htim1, TIM_BREAKINPUT_BRK, &sBreakInputConfig) != HAL_OK)
  {
    Error_Handler();
  }
  sConfigOC.OCMode = TIM_OCMODE_PWM1;
  sConfigOC.Pulse = ((PWM_PERIOD_CYCLES) / 4);
  sConfigOC.OCPolarity = TIM_OCPOLARITY_HIGH;
  sConfigOC.OCNPolarity = TIM_OCNPOLARITY_LOW;
  sConfigOC.OCFastMode = TIM_OCFAST_DISABLE;
  sConfigOC.OCIdleState = TIM_OCIDLESTATE_RESET;
  sConfigOC.OCNIdleState = TIM_OCNIDLESTATE_SET;
  if (HAL_TIM_PWM_ConfigChannel(&htim1, &sConfigOC, TIM_CHANNEL_1) != HAL_OK)
  {
    Error_Handler();
  }
  if (HAL_TIM_PWM_ConfigChannel(&htim1, &sConfigOC, TIM_CHANNEL_2) != HAL_OK)
  {
    Error_Handler();
  }
  if (HAL_TIM_PWM_ConfigChannel(&htim1, &sConfigOC, TIM_CHANNEL_3) != HAL_OK)
  {
    Error_Handler();
  }
  sConfigOC.OCMode = TIM_OCMODE_PWM2;
  sConfigOC.Pulse = (((PWM_PERIOD_CYCLES) / 2) - (HTMIN));
  sConfigOC.OCNPolarity = TIM_OCNPOLARITY_HIGH;
  sConfigOC.OCNIdleState = TIM_OCNIDLESTATE_RESET;
  if (HAL_TIM_PWM_ConfigChannel(&htim1, &sConfigOC, TIM_CHANNEL_4) != HAL_OK)
  {
    Error_Handler();
  }
  sBreakDeadTimeConfig.OffStateRunMode = TIM_OSSR_ENABLE;
  sBreakDeadTimeConfig.OffStateIDLEMode = TIM_OSSI_ENABLE;
  sBreakDeadTimeConfig.LockLevel = TIM_LOCKLEVEL_OFF;
  sBreakDeadTimeConfig.DeadTime = ((DEAD_TIME_COUNTS) / 2);
  sBreakDeadTimeConfig.BreakState = TIM_BREAK_ENABLE;
  sBreakDeadTimeConfig.BreakPolarity = TIM_BREAKPOLARITY_HIGH;
  sBreakDeadTimeConfig.BreakFilter = 3;
  sBreakDeadTimeConfig.BreakAFMode = TIM_BREAK_AFMODE_INPUT;
  sBreakDeadTimeConfig.Break2State = TIM_BREAK2_DISABLE;
  sBreakDeadTimeConfig.Break2Polarity = TIM_BREAK2POLARITY_HIGH;
  sBreakDeadTimeConfig.Break2Filter = 3;
  sBreakDeadTimeConfig.Break2AFMode = TIM_BREAK_AFMODE_INPUT;
  sBreakDeadTimeConfig.AutomaticOutput = TIM_AUTOMATICOUTPUT_DISABLE;
  if (HAL_TIMEx_ConfigBreakDeadTime(&htim1, &sBreakDeadTimeConfig) != HAL_OK)
  {
    Error_Handler();
  }
  HAL_TIM_MspPostInit(&htim1);

}

static void MX_TIM2_Init(void)
{

  TIM_Encoder_InitTypeDef sConfig = {0};
  TIM_MasterConfigTypeDef sMasterConfig = {0};

  htim2.Instance = TIM2;
  htim2.Init.Prescaler = 0;
  htim2.Init.CounterMode = TIM_COUNTERMODE_UP;
  htim2.Init.Period = M1_PULSE_NBR;
  htim2.Init.ClockDivision = TIM_CLOCKDIVISION_DIV1;
  htim2.Init.AutoReloadPreload = TIM_AUTORELOAD_PRELOAD_DISABLE;
  sConfig.EncoderMode = TIM_ENCODERMODE_TI12;
  sConfig.IC1Polarity = TIM_ICPOLARITY_RISING;
  sConfig.IC1Selection = TIM_ICSELECTION_DIRECTTI;
  sConfig.IC1Prescaler = TIM_ICPSC_DIV1;
  sConfig.IC1Filter = M1_ENC_IC_FILTER;
  sConfig.IC2Polarity = TIM_ICPOLARITY_RISING;
  sConfig.IC2Selection = TIM_ICSELECTION_DIRECTTI;
  sConfig.IC2Prescaler = TIM_ICPSC_DIV1;
  sConfig.IC2Filter = M1_ENC_IC_FILTER;
  if (HAL_TIM_Encoder_Init(&htim2, &sConfig) != HAL_OK)
  {
    Error_Handler();
  }
  sMasterConfig.MasterOutputTrigger = TIM_TRGO_RESET;
  sMasterConfig.MasterSlaveMode = TIM_MASTERSLAVEMODE_DISABLE;
  if (HAL_TIMEx_MasterConfigSynchronization(&htim2, &sMasterConfig) != HAL_OK)
  {
    Error_Handler();
  }

}

static void MX_USART2_UART_Init(void)
{
	huart_MD.Instance = USART2;
	huart_MD.Init.BaudRate = 115200;
	huart_MD.Init.WordLength = UART_WORDLENGTH_8B;
	huart_MD.Init.StopBits = UART_STOPBITS_1;
	huart_MD.Init.Parity = UART_PARITY_NONE;
	huart_MD.Init.Mode = UART_MODE_TX_RX;
	huart_MD.Init.HwFlowCtl = UART_HWCONTROL_NONE;
	huart_MD.Init.OverSampling = UART_OVERSAMPLING_16;
	huart_MD.Init.OneBitSampling = UART_ONE_BIT_SAMPLE_DISABLE;
	huart_MD.Init.ClockPrescaler = UART_PRESCALER_DIV1;
	huart_MD.AdvancedInit.AdvFeatureInit = UART_ADVFEATURE_NO_INIT;
	if (HAL_UART_Init(&huart_MD) != HAL_OK)
	{
	Error_Handler();
	}
	if (HAL_UARTEx_SetTxFifoThreshold(&huart_MD, UART_TXFIFO_THRESHOLD_1_8) != HAL_OK)
	{
	Error_Handler();
	}
	if (HAL_UARTEx_SetRxFifoThreshold(&huart_MD, UART_RXFIFO_THRESHOLD_1_8) != HAL_OK)
	{
	Error_Handler();
	}
	if (HAL_UARTEx_DisableFifoMode(&huart_MD) != HAL_OK)
	{
	Error_Handler();
	}
}

static void MX_GPIO_Init(void)
{
  GPIO_InitTypeDef GPIO_InitStruct = {0};

  /* GPIO Ports Clock Enable */
  __HAL_RCC_GPIOC_CLK_ENABLE();
  __HAL_RCC_GPIOF_CLK_ENABLE();
  __HAL_RCC_GPIOA_CLK_ENABLE();
  __HAL_RCC_GPIOB_CLK_ENABLE();

  /*Configure GPIO pin : Start_Stop_Pin */
  GPIO_InitStruct.Pin = Start_Stop_Pin;
  GPIO_InitStruct.Mode = GPIO_MODE_IT_FALLING;
  GPIO_InitStruct.Pull = GPIO_NOPULL;
  HAL_GPIO_Init(Start_Stop_GPIO_Port, &GPIO_InitStruct);

}

void Error_Handler(void)
{
  __disable_irq();
  while (1)
  {
  }
}
